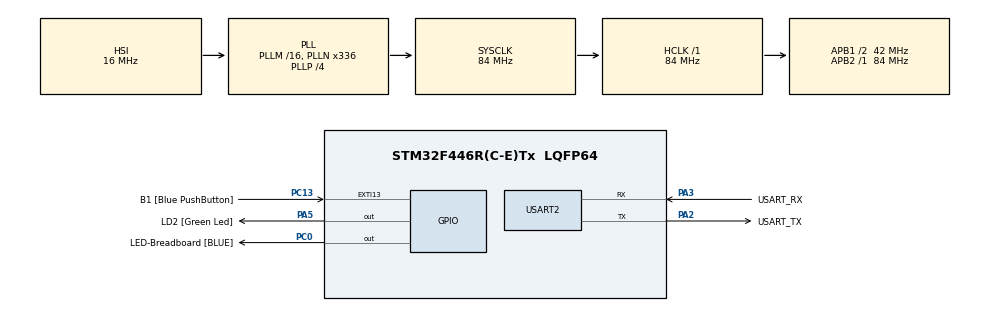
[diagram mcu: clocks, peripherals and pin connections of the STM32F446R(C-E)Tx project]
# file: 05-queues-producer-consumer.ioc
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FREERTOS.Tasks01=defaultTask,24,128,StartDefaultTask,Default,NULL,Dynamic,NULL,NULL
FREERTOS.configUSE_NEWLIB_REENTRANT=1
Mcu.Family=STM32F4
Mcu.Name=STM32F446R(C-E)Tx
Mcu.Package=LQFP64
NVIC.EXTI15_10_IRQn=true\:5\:0\:false\:false\:true\:true\:true\:true\:true
NVIC.PriorityGroup=NVIC_PRIORITYGROUP_4
NVIC.TIM1_UP_TIM10_IRQn=true\:15\:0\:false\:false\:true\:false\:false\:true\:true
NVIC.TimeBase=TIM1_UP_TIM10_IRQn
NVIC.TimeBaseIP=TIM1
PA13.GPIO_Label=TMS
PA13.Mode=Serial_Wire
PA13.Signal=SYS_JTMS-SWDIO
PA14.GPIO_Label=TCK
PA14.Mode=Serial_Wire
PA14.Signal=SYS_JTCK-SWCLK
PA2.GPIO_Label=USART_TX
PA2.Mode=Asynchronous
PA2.Signal=USART2_TX
PA3.GPIO_Label=USART_RX
PA3.Mode=Asynchronous
PA3.Signal=USART2_RX
PA5.GPIO_Label=LD2 [Green Led]
PA5.Signal=GPIO_Output
PB3.GPIO_Label=SWO
PB3.Signal=SYS_JTDO-SWO
PC0.GPIO_Label=LED-Breadboard [BLUE]
PC0.Signal=GPIO_Output
PC13.GPIO_Label=B1 [Blue PushButton]
PC13.GPIO_ModeDefaultEXTI=GPIO_MODE_IT_FALLING
PC13.Signal=GPXTI13
PC14-OSC32_IN.Mode=LSE-External-Oscillator
PC14-OSC32_IN.Signal=RCC_OSC32_IN
PC15-OSC32_OUT.Mode=LSE-External-Oscillator
PC15-OSC32_OUT.Signal=RCC_OSC32_OUT
PH0-OSC_IN.Mode=HSE-External-Oscillator
PH0-OSC_IN.Signal=RCC_OSC_IN
PH1-OSC_OUT.Mode=HSE-External-Oscillator
PH1-OSC_OUT.Signal=RCC_OSC_OUT
ProjectManager.HeapSize=0x200
ProjectManager.StackSize=0x400
ProjectManager.TargetToolchain=STM32CubeIDE
RCC.48MHZClocksFreq_Value=84000000
RCC.AHBFreq_Value=84000000
RCC.APB1CLKDivider=RCC_HCLK_DIV2
RCC.APB1Freq_Value=42000000
RCC.APB1TimFreq_Value=84000000
RCC.APB2Freq_Value=84000000
RCC.APB2TimFreq_Value=84000000
RCC.CortexFreq_Value=84000000
RCC.FLatency-AdvancedSettings=FLASH_LATENCY_2
RCC.HCLKFreq_Value=84000000
RCC.HSE_VALUE=8000000
RCC.HSI_VALUE=16000000
RCC.PLLN=336
RCC.PLLP=RCC_PLLP_DIV4
RCC.SYSCLKFreq_VALUE=84000000
RCC.SYSCLKSource=RCC_SYSCLKSOURCE_PLLCLK
RCC.USBFreq_Value=168000000
RCC.VCOOutputFreq_Value=336000000
USART2.VirtualMode=VM_ASYNC
VP_FREERTOS_VS_CMSIS_V2.Mode=CMSIS_V2
VP_SYS_VS_tim1.Mode=TIM1
board=NUCLEO-F446RE

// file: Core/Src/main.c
/* USER CODE BEGIN Header */
/**
  ******************************************************************************
  * @file           : main.c
  * @brief          : Main program body
  ******************************************************************************
  * @attention
  *
  * Copyright (c) 2026 STMicroelectronics.
  * All rights reserved.
  *
  * This software is licensed under terms that can be found in the LICENSE file
  * in the root directory of this software component.
  * If no LICENSE file comes with this software, it is provided AS-IS.
  *
  ******************************************************************************
  */
/* USER CODE END Header */
#include "main.h"
#include "cmsis_os.h"

/* USER CODE BEGIN Includes */
#include "FreeRTOS.h"
#include "queue.h"
/* USER CODE END Includes */

UART_HandleTypeDef huart2;

/* Definitions for defaultTask */
osThreadId_t defaultTaskHandle;
const osThreadAttr_t defaultTask_attributes = {
  .name = "defaultTask",
  .stack_size = 128 * 4,
  .priority = (osPriority_t) osPriorityNormal,
};
/* USER CODE BEGIN PV */
QueueHandle_t flashQueue;
/* USER CODE END PV */

void SystemClock_Config(void);
static void MX_GPIO_Init(void);
static void MX_USART2_UART_Init(void);
void StartDefaultTask(void *argument);

int main(void)
{

  /* MCU Configuration--------------------------------------------------------*/

  /* Reset of all peripherals, Initializes the Flash interface and the Systick. */
  HAL_Init();

  /* Configure the system clock */
  SystemClock_Config();

  /* Initialize all configured peripherals */
  MX_GPIO_Init();
  MX_USART2_UART_Init();

  /* Init scheduler */
  osKernelInitialize();

  /* USER CODE BEGIN RTOS_QUEUES */
  /* add queues, ... */
  flashQueue = xQueueCreate(5, sizeof(uint8_t));

  /* USER CODE END RTOS_QUEUES */

  /* Create the thread(s) */
  /* creation of defaultTask */
  defaultTaskHandle = osThreadNew(StartDefaultTask, NULL, &defaultTask_attributes);

  /* Start scheduler */
  osKernelStart();

  /* We should never get here as control is now taken by the scheduler */

  /* Infinite loop */
  while (1)
  {

  }
}

void SystemClock_Config(void)
{
  RCC_OscInitTypeDef RCC_OscInitStruct = {0};
  RCC_ClkInitTypeDef RCC_ClkInitStruct = {0};

  /** Configure the main internal regulator output voltage
  */
  __HAL_RCC_PWR_CLK_ENABLE();
  __HAL_PWR_VOLTAGESCALING_CONFIG(PWR_REGULATOR_VOLTAGE_SCALE3);

  /** Initializes the RCC Oscillators according to the specified parameters
  * in the RCC_OscInitTypeDef structure.
  */
  RCC_OscInitStruct.OscillatorType = RCC_OSCILLATORTYPE_HSI;
  RCC_OscInitStruct.HSIState = RCC_HSI_ON;
  RCC_OscInitStruct.HSICalibrationValue = RCC_HSICALIBRATION_DEFAULT;
  RCC_OscInitStruct.PLL.PLLState = RCC_PLL_ON;
  RCC_OscInitStruct.PLL.PLLSource = RCC_PLLSOURCE_HSI;
  RCC_OscInitStruct.PLL.PLLM = 16;
  RCC_OscInitStruct.PLL.PLLN = 336;
  RCC_OscInitStruct.PLL.PLLP = RCC_PLLP_DIV4;
  RCC_OscInitStruct.PLL.PLLQ = 2;
  RCC_OscInitStruct.PLL.PLLR = 2;
  if (HAL_RCC_OscConfig(&RCC_OscInitStruct) != HAL_OK)
  {
    Error_Handler();
  }

  /** Initializes the CPU, AHB and APB buses clocks
  */
  RCC_ClkInitStruct.ClockType = RCC_CLOCKTYPE_HCLK|RCC_CLOCKTYPE_SYSCLK
                              |RCC_CLOCKTYPE_PCLK1|RCC_CLOCKTYPE_PCLK2;
  RCC_ClkInitStruct.SYSCLKSource = RCC_SYSCLKSOURCE_PLLCLK;
  RCC_ClkInitStruct.AHBCLKDivider = RCC_SYSCLK_DIV1;
  RCC_ClkInitStruct.APB1CLKDivider = RCC_HCLK_DIV2;
  RCC_ClkInitStruct.APB2CLKDivider = RCC_HCLK_DIV1;

  if (HAL_RCC_ClockConfig(&RCC_ClkInitStruct, FLASH_LATENCY_2) != HAL_OK)
  {
    Error_Handler();
  }
}

static void MX_USART2_UART_Init(void)
{

  huart2.Instance = USART2;
  huart2.Init.BaudRate = 115200;
  huart2.Init.WordLength = UART_WORDLENGTH_8B;
  huart2.Init.StopBits = UART_STOPBITS_1;
  huart2.Init.Parity = UART_PARITY_NONE;
  huart2.Init.Mode = UART_MODE_TX_RX;
  huart2.Init.HwFlowCtl = UART_HWCONTROL_NONE;
  huart2.Init.OverSampling = UART_OVERSAMPLING_16;
  if (HAL_UART_Init(&huart2) != HAL_OK)
  {
    Error_Handler();
  }

}

static void MX_GPIO_Init(void)
{
  GPIO_InitTypeDef GPIO_InitStruct = {0};

  /* GPIO Ports Clock Enable */
  __HAL_RCC_GPIOC_CLK_ENABLE();
  __HAL_RCC_GPIOH_CLK_ENABLE();
  __HAL_RCC_GPIOA_CLK_ENABLE();
  __HAL_RCC_GPIOB_CLK_ENABLE();

  /*Configure GPIO pin Output Level */
  HAL_GPIO_WritePin(LED_Breadboard_GPIO_Port, LED_Breadboard_Pin, GPIO_PIN_RESET);

  /*Configure GPIO pin Output Level */
  HAL_GPIO_WritePin(LD2_GPIO_Port, LD2_Pin, GPIO_PIN_RESET);

  /*Configure GPIO pin : B1_Pin */
  GPIO_InitStruct.Pin = B1_Pin;
  GPIO_InitStruct.Mode = GPIO_MODE_IT_FALLING;
  GPIO_InitStruct.Pull = GPIO_NOPULL;
  HAL_GPIO_Init(B1_GPIO_Port, &GPIO_InitStruct);

  /*Configure GPIO pin : LED_Breadboard_Pin */
  GPIO_InitStruct.Pin = LED_Breadboard_Pin;
  GPIO_InitStruct.Mode = GPIO_MODE_OUTPUT_PP;
  GPIO_InitStruct.Pull = GPIO_NOPULL;
  GPIO_InitStruct.Speed = GPIO_SPEED_FREQ_LOW;
  HAL_GPIO_Init(LED_Breadboard_GPIO_Port, &GPIO_InitStruct);

  /*Configure GPIO pin : LD2_Pin */
  GPIO_InitStruct.Pin = LD2_Pin;
  GPIO_InitStruct.Mode = GPIO_MODE_OUTPUT_PP;
  GPIO_InitStruct.Pull = GPIO_NOPULL;
  GPIO_InitStruct.Speed = GPIO_SPEED_FREQ_LOW;
  HAL_GPIO_Init(LD2_GPIO_Port, &GPIO_InitStruct);

  /* EXTI interrupt init*/
  HAL_NVIC_SetPriority(EXTI15_10_IRQn, 5, 0);
  HAL_NVIC_EnableIRQ(EXTI15_10_IRQn);

}

/* USER CODE BEGIN 4 */
void HAL_GPIO_EXTI_Callback(uint16_t GPIO_Pin) {
	if (GPIO_Pin == B1_Pin) {

		static uint32_t lastPress = 0;

		if((HAL_GetTick() - lastPress) > 200) {
			lastPress = HAL_GetTick();
			uint8_t flashCount = 3;
			BaseType_t xHigherPriorityTaskWoken = pdFALSE;
			xQueueSendFromISR(flashQueue, &flashCount, &xHigherPriorityTaskWoken);
			portYIELD_FROM_ISR(xHigherPriorityTaskWoken);
		}

	}
}
/* USER CODE END 4 */

void StartDefaultTask(void *argument)
{
  /* USER CODE BEGIN 5 */
	uint8_t numFlash = 0;
  /* Infinite loop */
  for(;;)
  {
	  if (xQueueReceive(flashQueue, &numFlash, portMAX_DELAY) == pdPASS) {
		  for (uint32_t i = 0; i < numFlash; i++) {
			  HAL_GPIO_TogglePin(LD2_GPIO_Port, LD2_Pin);
			  osDelay(200);
			  HAL_GPIO_TogglePin(LD2_GPIO_Port, LD2_Pin);
			  osDelay(200);
		  }
	  }
  }
  /* USER CODE END 5 */
}

void HAL_TIM_PeriodElapsedCallback(TIM_HandleTypeDef *htim)
{
  if (htim->Instance == TIM1)
  {
    HAL_IncTick();
  }
}

void Error_Handler(void)
{
  __disable_irq();
  while (1)
  {
  }
}
